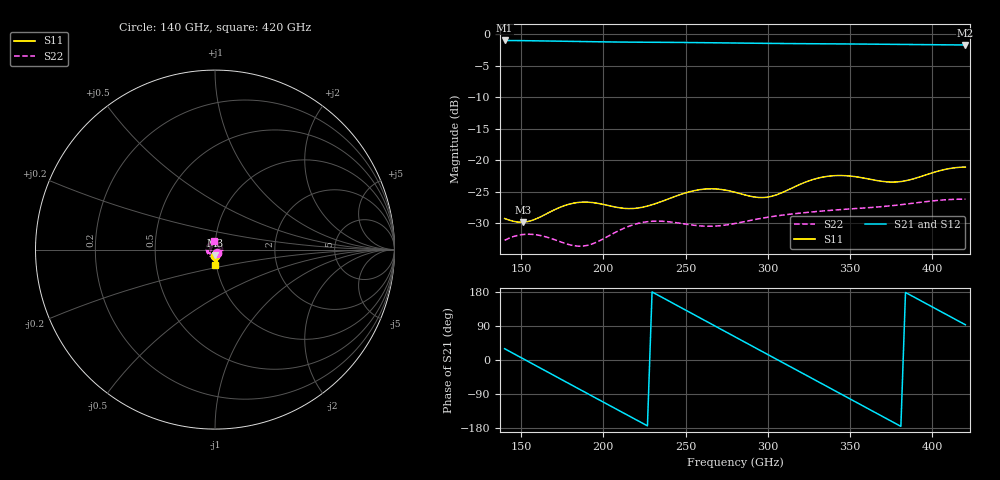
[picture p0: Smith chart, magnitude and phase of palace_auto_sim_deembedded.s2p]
! Created with skrf 1.11.0 (http://scikit-rf.org).
# GHz S DB R 50.0
!freq dBS11 angS11 dBS21 angS21 dBS12 angS12 dBS22 angS22
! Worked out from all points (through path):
!   101 points, 140 GHz to 420 GHz, reference 50 ohm
!   highest |S21| = -1.03 dB at 140 GHz (marker M1); lowest = -1.7 dB at 420 GHz (marker M2)
!   group delay of S21, straight-line fit = 6.52 ps
!   lowest |S11| = -29.8 dB at 151.2 GHz (marker M3), VSWR 1.07, Z = 50 - j3.23 ohm
!   |S11| at or under -10 dB: start of sweep to end of sweep
!   |S22| runs from -33.6 to -26.2 dB; largest |S21 - S12| = 1e-13
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140  -29.25 -94.4  -1.03 29.8  -1.03 29.8  -32.70 -54.0
151.2  -29.83 -88.2  -1.07 3.4  -1.07 3.4  -31.78 -88.3
168  -28.15 -80.6  -1.12 -36.1  -1.12 -36.1  -32.39 -149.7
187.6  -26.65 -89.4  -1.21 -82.1  -1.21 -82.1  -33.61 114.0
201.6  -27.10 -94.5  -1.26 -114.9  -1.26 -114.9  -32.24 40.0
215.6  -27.67 -90.6  -1.30 -147.6  -1.30 -147.6  -30.46 -24.7
235.2  -26.56 -82.4  -1.33 166.5  -1.33 166.5  -29.67 -109.4
246.4  -25.48 -82.7  -1.35 140.1  -1.35 140.1  -29.99 -159.9
257.6  -24.71 -86.7  -1.37 113.8  -1.37 113.8  -30.39 146.4
268.8  -24.57 -92.0  -1.41 87.5  -1.41 87.5  -30.43 90.4
280  -25.08 -95.0  -1.44 61.2  -1.44 61.2  -30.03 34.9
294  -25.90 -90.3  -1.48 28.3  -1.48 28.3  -29.31 -31.7
305.2  -25.49 -82.2  -1.51 2.1  -1.51 2.1  -28.83 -83.6
316.4  -24.20 -78.7  -1.53 -24.1  -1.53 -24.1  -28.48 -135.6
327.6  -23.05 -81.3  -1.55 -50.4  -1.55 -50.4  -28.19 171.8
338.8  -22.49 -86.4  -1.57 -76.6  -1.57 -76.6  -27.94 118.7
350  -22.52 -91.1  -1.59 -102.9  -1.59 -102.9  -27.72 65.4
361.2  -22.98 -93.1  -1.61 -129.2  -1.61 -129.2  -27.52 12.1
375.2  -23.47 -89.3  -1.65 -162.0  -1.65 -162.0  -27.21 -54.6
394.8  -22.43 -82.3  -1.69 152.0  -1.69 152.0  -26.61 -146.7
408.8  -21.40 -84.6  -1.72 119.2  -1.72 119.2  -26.26 149.0
420  -21.09 -88.7  -1.75 93.0  -1.75 93.0  -26.18 97.5
